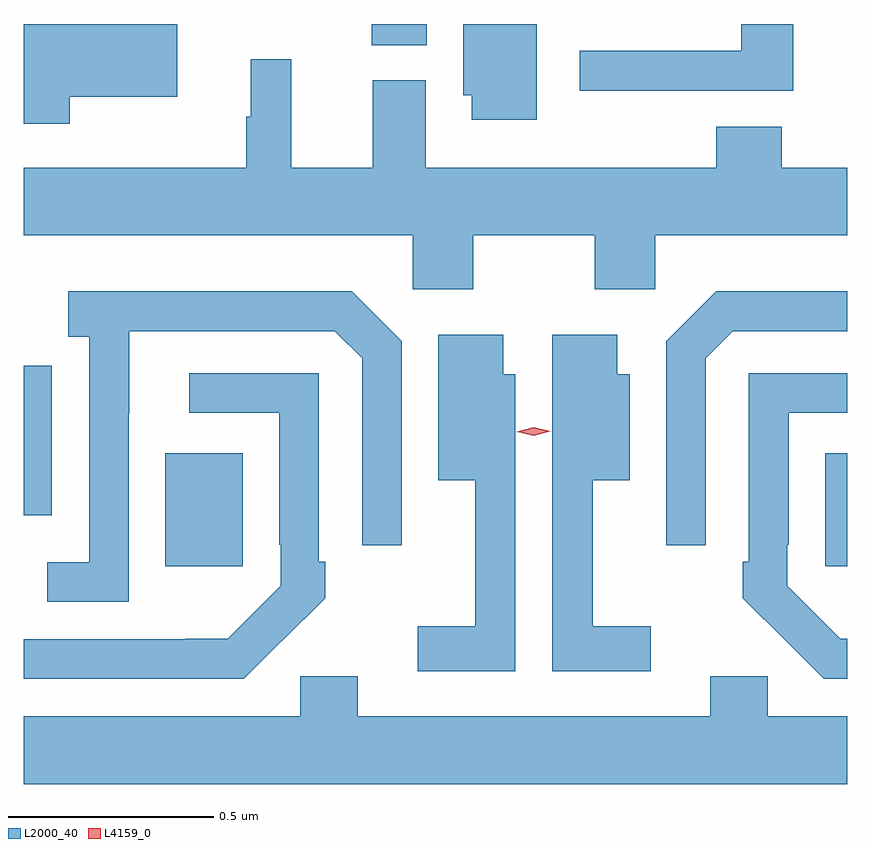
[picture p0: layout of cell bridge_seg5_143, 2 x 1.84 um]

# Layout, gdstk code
import gdstk
lib = gdstk.Library(unit=1e-6, precision=1e-09)
def R(c, l, rs):  # rectangles x0, y0, x1, y1
    for r in rs: c.add(gdstk.rectangle(r[:2], r[2:], *l))
def P(c, l, *ps):  # polygons
    for p in ps: c.add(gdstk.Polygon(p, *l))
L2000_40 = (2000, 40)
L4159_0 = (4159, 0)

bridge_seg5_143 = lib.new_cell('bridge_seg5_143')
R(bridge_seg5_143, L2000_40, [(301.613,878.601,301.801,878.875), (303.215,878.601,303.269,878.875), (302.114,879.865,302.248,879.917)])
P(bridge_seg5_143, L2000_40, [(303.137,879.917),(303.011,879.917),(303.011,879.852),(302.619,879.852),(302.619,879.755),(303.137,879.755)],
  [(302.515,879.917),(302.336,879.917),(302.336,879.744),(302.357,879.744),(302.357,879.684),(302.515,879.684)],
  [(301.381,879.74),(301.642,879.74),(301.642,879.917),(301.269,879.917),(301.269,879.675),(301.381,879.675)],
  [(302.361,879.404),(302.656,879.404),(302.656,879.273),(302.802,879.273),(302.802,879.404),(303.269,879.404),(303.269,879.568),(303.11,879.568),(303.11,879.667),(302.95,879.667),(302.95,879.568),(302.245,879.568),(302.245,879.78),(302.117,879.78),(302.117,879.568),(301.919,879.568),(301.919,879.832),(301.82,879.832),(301.82,879.692),(301.809,879.692),(301.809,879.568),(301.269,879.568),(301.269,879.404),(302.214,879.404),(302.214,879.273),(302.361,879.273)],
  [(301.524,878.971),(301.525,878.971),(301.525,879.171),(302.025,879.171),(302.091,879.105),(302.091,878.652),(302.187,878.652),(302.187,879.147),(302.066,879.268),(301.377,879.268),(301.377,879.158),(301.428,879.158),(301.428,878.61),(301.326,878.61),(301.326,878.514),(301.524,878.514)],
  [(302.925,879.105),(302.991,879.171),(303.269,879.171),(303.269,879.268),(302.95,879.268),(302.829,879.147),(302.829,878.652),(302.925,878.652)],
  [(302.463,879.067),(302.434,879.067),(302.434,879.163),(302.276,879.163),(302.276,878.81),(302.366,878.81),(302.366,878.455),(302.226,878.455),(302.226,878.346),(302.463,878.346)],
  [(302.791,878.455),(302.651,878.455),(302.651,878.81),(302.74,878.81),(302.74,879.067),(302.71,879.067),(302.71,879.163),(302.552,879.163),(302.552,878.914),(302.553,878.914),(302.553,878.346),(302.791,878.346)],
  [(301.338,878.978),(301.337,878.978),(301.337,879.087),(301.269,879.087),(301.269,878.724),(301.338,878.724)],
  [(301.895,878.419),(301.896,878.418),(302.001,878.523),(302.001,878.611),(301.986,878.611),(301.986,879.069),(301.671,879.069),(301.671,878.973),(301.89,878.973),(301.89,878.653),(301.893,878.653),(301.893,878.553),(301.765,878.425),(301.661,878.425),(301.661,878.424),(301.269,878.424),(301.269,878.328),(301.804,878.328)],
  [(303.269,878.425),(303.252,878.425),(303.123,878.553),(303.123,878.653),(303.126,878.653),(303.126,878.973),(303.269,878.973),(303.269,879.069),(303.03,879.069),(303.03,878.611),(303.015,878.611),(303.015,878.523),(303.12,878.418),(303.121,878.419),(303.212,878.328),(303.269,878.328)],
  [(303.269,878.236),(303.075,878.236),(303.075,878.334),(302.936,878.334),(302.936,878.236),(302.08,878.236),(302.08,878.334),(301.941,878.334),(301.941,878.236),(301.269,878.236),(301.269,878.072),(303.269,878.072)])
P(bridge_seg5_143, L4159_0, [(302.508,878.918),(302.466,878.927),(302.466,878.927),(302.466,878.927),(302.507,878.938),(302.548,878.928),(302.549,878.928),(302.548,878.928)])

lib.write_gds('bridge_seg5_143.gds')
